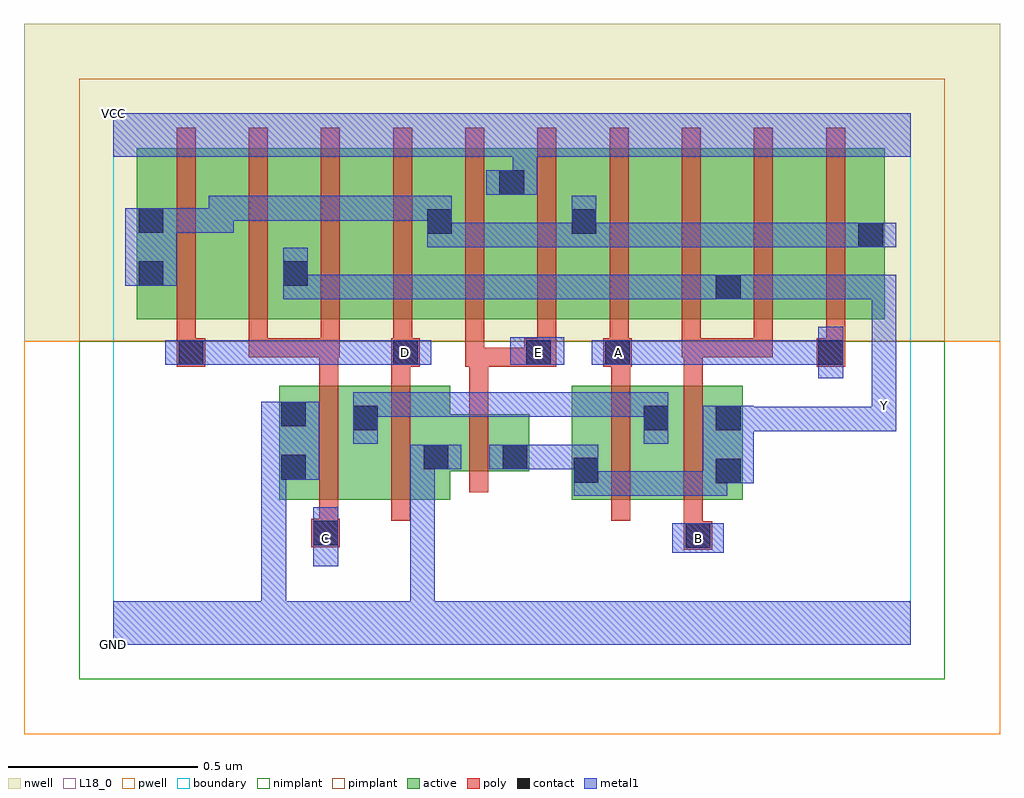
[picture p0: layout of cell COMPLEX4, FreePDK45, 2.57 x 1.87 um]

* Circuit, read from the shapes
.subckt COMPLEX4 A B C D E GND VCC Y
M1 n1 C GND VSUBS nfet w=0.3u l=0.05u
M2 GND D n1 VSUBS nfet w=0.3u l=0.05u
M3 Y E GND VSUBS nfet w=0.15u l=0.05u
M4 n1 A Y VSUBS nfet w=0.3u l=0.05u
M5 Y B n1 VSUBS nfet w=0.3u l=0.05u
M6 n2 D n3 n4 pfet w=0.45u l=0.05u
M7 Y C n2 n4 pfet w=0.45u l=0.05u
M8 n5 C Y n4 pfet w=0.45u l=0.05u
M9 n3 D n5 n4 pfet w=0.45u l=0.05u
M10 VCC E n3 n4 pfet w=0.45u l=0.05u m=2
M11 n6 A n3 n4 pfet w=0.45u l=0.05u
M12 Y B n6 n4 pfet w=0.45u l=0.05u
M13 n7 B Y n4 pfet w=0.45u l=0.05u
M14 n3 A n7 n4 pfet w=0.45u l=0.05u
.ends

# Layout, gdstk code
import gdstk
lib = gdstk.Library(unit=1e-6, precision=1e-09)
def R(c, l, rs):  # rectangles x0, y0, x1, y1
    for r in rs: c.add(gdstk.rectangle(r[:2], r[2:], *l))
def A(c, l, x, y, w, h, nx, ny, dx, dy):  # array of equal rectangles
    R(c, l, [(x+i*dx, y+j*dy, x+i*dx+w, y+j*dy+h) for i in range(nx) for j in range(ny)])
active = (1, 0)
pwell = (2, 0)
nwell = (3, 0)
nimplant = (4, 0)
pimplant = (5, 0)
poly = (9, 0)
contact = (10, 0)
metal1 = (11, 0)
L18_0 = (18, 0)
boundary = (235, 0)

complex4 = lib.new_cell('COMPLEX4')
R(complex4, active, [(0.437,0.382,0.702,0.682), (0.627,0.382,0.887,0.682), (1.207,0.382,1.467,0.682), (1.207,0.382,1.282,0.577), (1.392,0.382,1.657,0.682), (0.437,0.407,0.512,0.682), (0.627,0.407,0.702,0.682), (1.582,0.407,1.657,0.682), (1.392,0.445,1.467,0.635), (0.812,0.457,0.887,0.547), (0.812,0.457,1.095,0.607), (1.02,0.457,1.095,0.547), (0.062,0.857,0.287,1.307), (0.062,0.857,0.167,1.2), (0.287,0.857,0.517,1.307), (0.442,0.857,0.667,1.307), (0.442,0.857,0.517,1.07), (0.667,0.857,0.897,1.307), (0.822,0.857,0.897,1.2), (0.822,0.857,1.087,1.307), (1.012,0.857,1.277,1.307), (1.012,0.857,1.087,1.305), (1.202,0.857,1.277,1.2), (1.202,0.857,1.427,1.307), (1.427,0.857,1.657,1.307), (1.582,0.857,1.807,1.307), (1.582,0.857,1.657,1.07), (1.807,0.857,2.032,1.307), (1.957,0.857,2.032,1.2)])
R(complex4, pwell, [(-0.235,-0.235,2.335,0.8)])
R(complex4, nwell, [(-0.235,0.8,2.335,1.635)])
R(complex4, nimplant, [(-0.09,-0.09,2.19,0.8)])
R(complex4, pimplant, [(-0.09,0.8,2.19,1.49)])
A(complex4, poly, 0.167, 0.757, 0.05, 0.095, 4, 1, 0.19, 0)
A(complex4, poly, 1.117, 0.757, 0.05, 0.095, 5, 1, 0.19, 0)
A(complex4, poly, 0.167, 0.802, 0.05, 0.56, 10, 1, 0.19, 0)
R(complex4, poly, [(1.502,0.25,1.577,0.325), (0.522,0.257,0.597,0.332), (1.502,0.275,1.552,0.377), (0.542,0.282,0.592,0.377), (0.542,0.327,0.592,0.737), (0.732,0.327,0.782,0.737), (1.312,0.327,1.362,0.737), (1.502,0.327,1.552,0.737), (0.937,0.402,0.987,0.662), (0.937,0.612,0.987,0.782), (0.542,0.687,0.592,0.807), (0.732,0.687,0.782,0.782), (1.312,0.687,1.362,0.782), (1.502,0.687,1.552,0.807), (0.167,0.732,0.242,0.807), (0.732,0.732,0.807,0.807), (0.927,0.732,0.977,0.852), (0.927,0.732,0.987,0.782), (0.937,0.732,1.132,0.782), (1.082,0.732,1.132,0.782), (1.082,0.732,1.132,0.782), (1.082,0.732,1.167,0.807), (1.29,0.732,1.365,0.807), (1.852,0.732,1.927,0.807), (0.357,0.757,0.407,0.807), (0.357,0.757,0.407,0.807), (0.357,0.757,0.407,0.807), (0.357,0.757,0.592,0.807), (0.542,0.757,0.597,0.807), (1.497,0.757,1.552,0.807), (1.502,0.757,1.737,0.807), (1.687,0.757,1.737,0.807), (1.687,0.757,1.737,0.807), (1.687,0.757,1.737,0.807)])
R(complex4, contact, [(1.507,0.255,1.572,0.32), (0.527,0.262,0.592,0.327), (1.587,0.425,1.652,0.49), (1.212,0.427,1.277,0.492), (0.442,0.435,0.507,0.5), (0.817,0.462,0.882,0.527), (1.025,0.462,1.09,0.527), (0.632,0.565,0.697,0.63), (1.397,0.565,1.462,0.63), (1.587,0.565,1.652,0.63), (0.442,0.575,0.507,0.64), (0.172,0.737,0.237,0.802), (0.737,0.737,0.802,0.802), (1.087,0.737,1.152,0.802), (1.295,0.737,1.36,0.802), (1.857,0.737,1.922,0.802), (1.587,0.91,1.652,0.975), (0.067,0.945,0.132,1.01), (0.447,0.945,0.512,1.01), (1.962,1.047,2.027,1.112), (0.827,1.082,0.892,1.147), (1.207,1.082,1.272,1.147), (0.067,1.085,0.132,1.15), (1.017,1.185,1.082,1.25)])
R(complex4, metal1, [(0,0,2.1,0.115), (0.39,0.05,0.455,0.115), (0.39,0.05,0.455,0.115), (0.39,0.05,0.455,0.5), (0.782,0.05,0.847,0.115), (0.782,0.05,0.847,0.115), (0.782,0.05,0.847,0.115), (0.782,0.05,0.847,0.115), (0.782,0.05,0.847,0.527), (0.527,0.207,0.592,0.362), (1.472,0.242,1.607,0.32), (1.212,0.392,1.277,0.457), (1.212,0.392,1.277,0.457), (1.212,0.392,1.277,0.527), (1.212,0.392,1.48,0.457), (1.415,0.392,1.48,0.457), (1.415,0.392,1.55,0.457), (1.485,0.392,1.55,0.457), (1.485,0.392,1.617,0.457), (1.552,0.392,1.617,0.457), (1.552,0.392,1.617,0.49), (1.552,0.425,1.687,0.63), (0.39,0.435,0.455,0.5), (0.39,0.435,0.455,0.5), (0.39,0.435,0.455,0.5), (0.39,0.435,0.455,0.5), (0.39,0.435,0.542,0.64), (0.782,0.462,0.847,0.527), (0.782,0.462,0.847,0.527), (0.782,0.462,0.917,0.527), (0.99,0.462,1.125,0.527), (1.06,0.462,1.125,0.527), (1.06,0.462,1.125,0.527), (1.06,0.462,1.277,0.527), (0.632,0.53,0.697,0.665), (1.397,0.53,1.462,0.665), (1.622,0.562,1.687,0.627), (1.622,0.562,1.687,0.627), (1.622,0.562,1.855,0.627), (1.79,0.562,1.855,0.627), (1.79,0.562,1.855,0.627), (1.79,0.562,1.855,0.627), (1.79,0.562,2.062,0.627), (1.997,0.562,2.062,0.627), (1.997,0.562,2.062,0.627), (1.997,0.562,2.062,0.697), (0.632,0.6,0.697,0.665), (0.632,0.6,0.697,0.665), (0.632,0.6,0.847,0.665), (0.782,0.6,0.847,0.665), (0.782,0.6,0.847,0.665), (0.782,0.6,0.847,0.665), (0.782,0.6,1.135,0.665), (1.07,0.6,1.135,0.665), (1.07,0.6,1.135,0.665), (1.07,0.6,1.135,0.665), (1.07,0.6,1.277,0.665), (1.212,0.6,1.277,0.665), (1.212,0.6,1.277,0.665), (1.212,0.6,1.277,0.665), (1.212,0.6,1.462,0.665), (1.997,0.632,2.062,0.975), (1.857,0.702,1.922,0.837), (0.137,0.737,0.272,0.802), (0.207,0.737,0.317,0.802), (0.252,0.737,0.317,0.802), (0.252,0.737,0.41,0.802), (0.345,0.737,0.41,0.802), (0.345,0.737,0.547,0.802), (0.482,0.737,0.547,0.802), (0.482,0.737,0.547,0.802), (0.482,0.737,0.547,0.802), (0.482,0.737,0.71,0.802), (0.645,0.737,0.71,0.802), (0.645,0.737,0.767,0.802), (0.702,0.737,0.837,0.802), (1.045,0.737,1.187,0.81), (1.26,0.737,1.397,0.802), (1.332,0.737,1.48,0.802), (1.415,0.737,1.48,0.802), (1.415,0.737,1.55,0.802), (1.485,0.737,1.55,0.802), (1.485,0.737,1.717,0.802), (1.652,0.737,1.717,0.802), (1.652,0.737,1.717,0.802), (1.652,0.737,1.717,0.802), (1.652,0.737,1.855,0.802), (1.79,0.737,1.855,0.802), (1.79,0.737,1.922,0.802), (0.447,0.91,0.512,1.045), (0.447,0.91,0.547,0.975), (0.482,0.91,0.547,0.975), (0.482,0.91,0.71,0.975), (0.645,0.91,0.71,0.975), (0.645,0.91,0.71,0.975), (0.645,0.91,0.71,0.975), (0.645,0.91,0.91,0.975), (0.845,0.91,0.91,0.975), (0.845,0.91,0.91,0.975), (0.845,0.91,0.91,0.975), (0.845,0.91,1.135,0.975), (1.07,0.91,1.135,0.975), (1.07,0.91,1.135,0.975), (1.07,0.91,1.135,0.975), (1.07,0.91,1.277,0.975), (1.212,0.91,1.277,0.975), (1.212,0.91,1.277,0.975), (1.212,0.91,1.277,0.975), (1.212,0.91,1.415,0.975), (1.35,0.91,1.415,0.975), (1.35,0.91,1.55,0.975), (1.485,0.91,1.55,0.975), (1.485,0.91,1.617,0.975), (1.552,0.91,1.687,0.975), (1.622,0.91,1.687,0.975), (1.622,0.91,1.687,0.975), (1.622,0.91,1.855,0.975), (1.79,0.91,1.855,0.975), (1.79,0.91,1.855,0.975), (1.79,0.91,1.855,0.975), (1.79,0.91,2.062,0.975), (1.997,0.91,2.062,0.975), (0.032,0.945,0.167,1.15), (0.827,1.047,0.892,1.112), (0.827,1.047,0.892,1.112), (0.827,1.047,0.892,1.182), (0.827,1.047,1.047,1.112), (0.982,1.047,1.047,1.112), (0.982,1.047,1.047,1.112), (0.982,1.047,1.047,1.112), (0.982,1.047,1.272,1.112), (1.207,1.047,1.272,1.112), (1.207,1.047,1.272,1.112), (1.207,1.047,1.272,1.182), (1.207,1.047,1.48,1.112), (1.415,1.047,1.48,1.112), (1.415,1.047,1.535,1.112), (1.47,1.047,1.535,1.112), (1.47,1.047,1.687,1.112), (1.622,1.047,1.687,1.112), (1.622,1.047,1.687,1.112), (1.622,1.047,1.687,1.112), (1.622,1.047,1.855,1.112), (1.79,1.047,1.855,1.112), (1.79,1.047,1.992,1.112), (1.927,1.047,1.992,1.112), (1.927,1.047,1.992,1.112), (1.927,1.047,2.062,1.112), (0.102,1.085,0.167,1.15), (0.102,1.085,0.167,1.15), (0.102,1.085,0.317,1.15), (0.252,1.085,0.317,1.15), (0.252,1.085,0.317,1.182), (0.252,1.117,0.317,1.182), (0.252,1.117,0.41,1.182), (0.345,1.117,0.41,1.182), (0.345,1.117,0.547,1.182), (0.482,1.117,0.547,1.182), (0.482,1.117,0.547,1.182), (0.482,1.117,0.547,1.182), (0.482,1.117,0.685,1.182), (0.62,1.117,0.685,1.182), (0.62,1.117,0.685,1.182), (0.62,1.117,0.685,1.182), (0.62,1.117,0.892,1.182), (0.982,1.185,1.117,1.25), (1.052,1.185,1.117,1.35), (0,1.285,2.1,1.4)])
R(complex4, L18_0, [(0,0,2.1,0.115), (0.39,0.05,0.455,0.115), (0.39,0.05,0.455,0.115), (0.39,0.05,0.455,0.5), (0.782,0.05,0.847,0.115), (0.782,0.05,0.847,0.115), (0.782,0.05,0.847,0.115), (0.782,0.05,0.847,0.115), (0.782,0.05,0.847,0.527), (0.527,0.207,0.592,0.362), (1.472,0.242,1.607,0.32), (0.527,0.247,0.592,0.312), (1.507,0.247,1.572,0.312), (1.212,0.392,1.277,0.457), (1.212,0.392,1.277,0.457), (1.212,0.392,1.277,0.527), (1.212,0.392,1.48,0.457), (1.415,0.392,1.55,0.457), (1.415,0.392,1.48,0.457), (1.485,0.392,1.55,0.457), (1.485,0.392,1.617,0.457), (1.552,0.392,1.617,0.457), (1.552,0.392,1.617,0.49), (1.552,0.425,1.687,0.63), (0.39,0.435,0.455,0.5), (0.39,0.435,0.455,0.5), (0.39,0.435,0.455,0.5), (0.39,0.435,0.455,0.5), (0.39,0.435,0.542,0.64), (0.782,0.462,0.917,0.527), (0.782,0.462,0.847,0.527), (0.782,0.462,0.847,0.527), (0.99,0.462,1.125,0.527), (1.06,0.462,1.125,0.527), (1.06,0.462,1.125,0.527), (1.06,0.462,1.277,0.527), (1.622,0.562,1.687,0.627), (1.622,0.562,1.687,0.627), (1.622,0.562,1.855,0.627), (1.79,0.562,1.855,0.627), (1.79,0.562,1.855,0.627), (1.79,0.562,1.855,0.627), (1.79,0.562,2.062,0.627), (1.997,0.562,2.062,0.627), (1.997,0.562,2.062,0.627), (1.997,0.562,2.062,0.697), (1.997,0.597,2.062,0.662), (1.997,0.632,2.062,0.975), (1.857,0.702,1.922,0.837), (0.137,0.737,0.272,0.802), (0.207,0.737,0.317,0.802), (0.252,0.737,0.317,0.802), (0.252,0.737,0.41,0.802), (0.345,0.737,0.41,0.802), (0.345,0.737,0.547,0.802), (0.482,0.737,0.547,0.802), (0.482,0.737,0.547,0.802), (0.482,0.737,0.547,0.802), (0.482,0.737,0.71,0.802), (0.645,0.737,0.71,0.802), (0.645,0.737,0.767,0.802), (0.702,0.737,0.837,0.802), (0.737,0.737,0.802,0.802), (1.045,0.737,1.187,0.81), (1.087,0.737,1.152,0.802), (1.26,0.737,1.397,0.802), (1.297,0.737,1.362,0.802), (1.332,0.737,1.48,0.802), (1.415,0.737,1.55,0.802), (1.415,0.737,1.48,0.802), (1.485,0.737,1.55,0.802), (1.485,0.737,1.717,0.802), (1.652,0.737,1.717,0.802), (1.652,0.737,1.717,0.802), (1.652,0.737,1.717,0.802), (1.652,0.737,1.855,0.802), (1.79,0.737,1.855,0.802), (1.79,0.737,1.922,0.802), (0.447,0.91,0.512,1.045), (0.447,0.91,0.547,0.975), (0.482,0.91,0.547,0.975), (0.482,0.91,0.71,0.975), (0.645,0.91,0.71,0.975), (0.645,0.91,0.71,0.975), (0.645,0.91,0.71,0.975), (0.645,0.91,0.91,0.975), (0.845,0.91,0.91,0.975), (0.845,0.91,0.91,0.975), (0.845,0.91,0.91,0.975), (0.845,0.91,1.135,0.975), (1.07,0.91,1.135,0.975), (1.07,0.91,1.135,0.975), (1.07,0.91,1.135,0.975), (1.07,0.91,1.277,0.975), (1.212,0.91,1.277,0.975), (1.212,0.91,1.277,0.975), (1.212,0.91,1.277,0.975), (1.212,0.91,1.415,0.975), (1.35,0.91,1.415,0.975), (1.35,0.91,1.55,0.975), (1.485,0.91,1.55,0.975), (1.485,0.91,1.617,0.975), (1.552,0.91,1.687,0.975), (1.622,0.91,1.687,0.975), (1.622,0.91,1.687,0.975), (1.622,0.91,1.855,0.975), (1.79,0.91,1.855,0.975), (1.79,0.91,1.855,0.975), (1.79,0.91,1.855,0.975), (1.79,0.91,2.062,0.975), (1.997,0.91,2.062,0.975), (0.982,1.185,1.117,1.25), (1.052,1.185,1.117,1.35), (0,1.285,2.1,1.4)])
R(complex4, boundary, [(0,0,2.1,1.4)])
complex4.add(gdstk.Label('A', (1.33,0.77), layer=11, texttype=0))
complex4.add(gdstk.Label('B', (1.54,0.28), layer=11, texttype=0))
complex4.add(gdstk.Label('C', (0.56,0.28), layer=11, texttype=0))
complex4.add(gdstk.Label('D', (0.77,0.77), layer=11, texttype=0))
complex4.add(gdstk.Label('E', (1.12,0.77), layer=11, texttype=0))
complex4.add(gdstk.Label('Y', (2.03,0.63), layer=11, texttype=0))
complex4.add(gdstk.Label('VCC', (0,1.4), layer=11, texttype=0))
complex4.add(gdstk.Label('GND', (0,0), layer=11, texttype=0))

lib.write_gds('COMPLEX4.gds')
